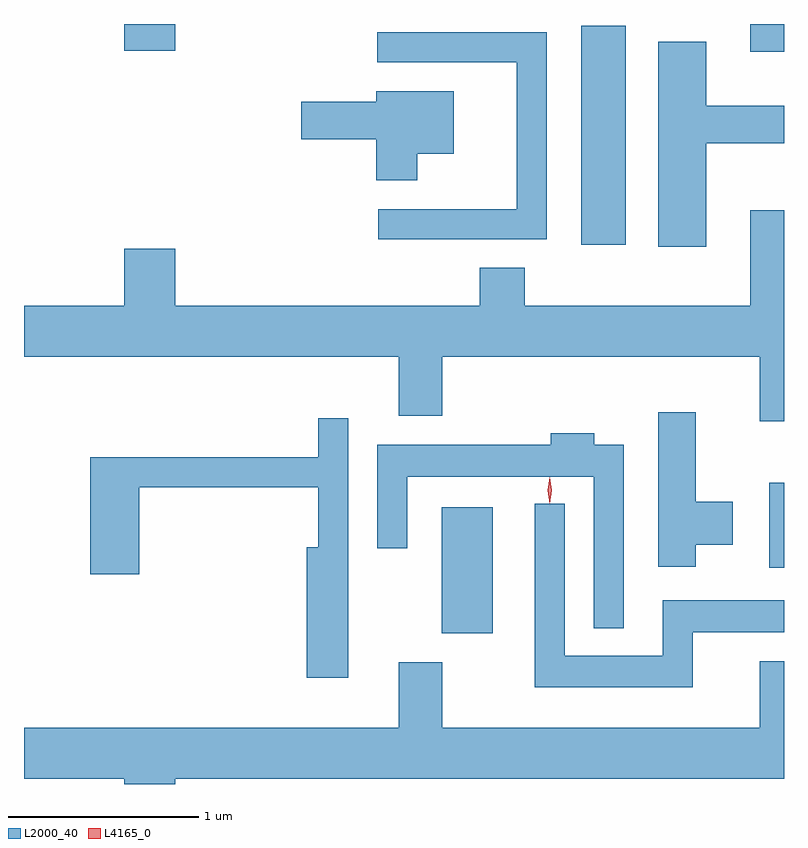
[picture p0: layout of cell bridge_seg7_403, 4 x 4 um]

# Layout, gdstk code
import gdstk
lib = gdstk.Library(unit=1e-6, precision=1e-09)
def R(c, l, rs):  # rectangles x0, y0, x1, y1
    for r in rs: c.add(gdstk.rectangle(r[:2], r[2:], *l))
def P(c, l, *ps):  # polygons
    for p in ps: c.add(gdstk.Polygon(p, *l))
L2000_40 = (2000, 40)
L4165_0 = (4165, 0)

bridge_seg7_403 = lib.new_cell('bridge_seg7_403')
R(bridge_seg7_403, L2000_40, [(1135.826,1670.681,1136.094,1671.344), (1137.551,1671.026,1137.628,1671.474), (1136.561,1672.726,1136.794,1673.879), (1137.451,1673.741,1137.628,1673.888), (1134.156,1673.746,1134.424,1673.888)])
P(bridge_seg7_403, L2000_40, [(1136.379,1673.844),(1135.488,1673.844),(1135.488,1673.686),(1136.221,1673.686),(1136.221,1672.914),(1135.493,1672.914),(1135.493,1672.756),(1136.379,1672.756)],
  [(1137.219,1673.261),(1137.628,1673.261),(1137.628,1673.459),(1137.219,1673.459),(1137.219,1673.794),(1136.966,1673.794),(1136.966,1672.716),(1137.219,1672.716)],
  [(1135.699,1673.206),(1135.889,1673.206),(1135.889,1673.534),(1135.481,1673.534),(1135.481,1673.479),(1135.086,1673.479),(1135.086,1673.281),(1135.481,1673.281),(1135.481,1673.066),(1135.699,1673.066)],
  [(1137.628,1672.909),(1137.451,1672.909),(1137.451,1672.404),(1136.264,1672.404),(1136.264,1672.604),(1136.026,1672.604),(1136.026,1672.404),(1134.424,1672.404),(1134.424,1672.704),(1134.156,1672.704),(1134.156,1672.404),(1133.628,1672.404),(1133.628,1672.136),(1135.601,1672.136),(1135.601,1671.826),(1135.829,1671.826),(1135.829,1672.136),(1137.501,1672.136),(1137.501,1671.796),(1137.628,1671.796)],
  [(1137.164,1671.146),(1137.359,1671.146),(1137.359,1671.374),(1137.164,1671.374),(1137.164,1671.844),(1136.966,1671.844),(1136.966,1671.031),(1137.164,1671.031)],
  [(1135.334,1671.813),(1135.176,1671.813),(1135.176,1671.609),(1133.976,1671.609),(1133.976,1670.991),(1134.234,1670.991),(1134.234,1671.451),(1135.176,1671.451),(1135.176,1671.134),(1135.116,1671.134),(1135.116,1670.446),(1135.334,1670.446)],
  [(1136.784,1671.674),(1136.629,1671.674),(1136.629,1671.734),(1136.401,1671.734),(1136.401,1671.674),(1135.486,1671.674),(1135.486,1671.128),(1135.644,1671.128),(1135.644,1671.506),(1136.626,1671.506),(1136.626,1670.708),(1136.784,1670.708)],
  [(1137.149,1670.686),(1137.628,1670.686),(1137.628,1670.854),(1136.991,1670.854),(1136.991,1670.564),(1136.474,1670.564),(1136.474,1671.363),(1136.316,1671.363),(1136.316,1670.396),(1137.149,1670.396)],
  [(1134.424,1669.916),(1137.628,1669.916),(1137.628,1670.534),(1137.501,1670.534),(1137.501,1670.184),(1135.829,1670.184),(1135.829,1670.529),(1135.601,1670.529),(1135.601,1670.184),(1133.628,1670.184),(1133.628,1669.916),(1134.156,1669.916),(1134.156,1669.888),(1134.424,1669.888)])
P(bridge_seg7_403, L4165_0, [(1136.394,1671.364),(1136.385,1671.434),(1136.394,1671.502),(1136.395,1671.503),(1136.395,1671.502),(1136.405,1671.434),(1136.395,1671.364),(1136.395,1671.364)],
  [(1136.395,1671.367),(1136.395,1671.367),(1136.386,1671.434),(1136.395,1671.5),(1136.396,1671.5),(1136.396,1671.5),(1136.405,1671.434),(1136.396,1671.367)])

lib.write_gds('bridge_seg7_403.gds')
